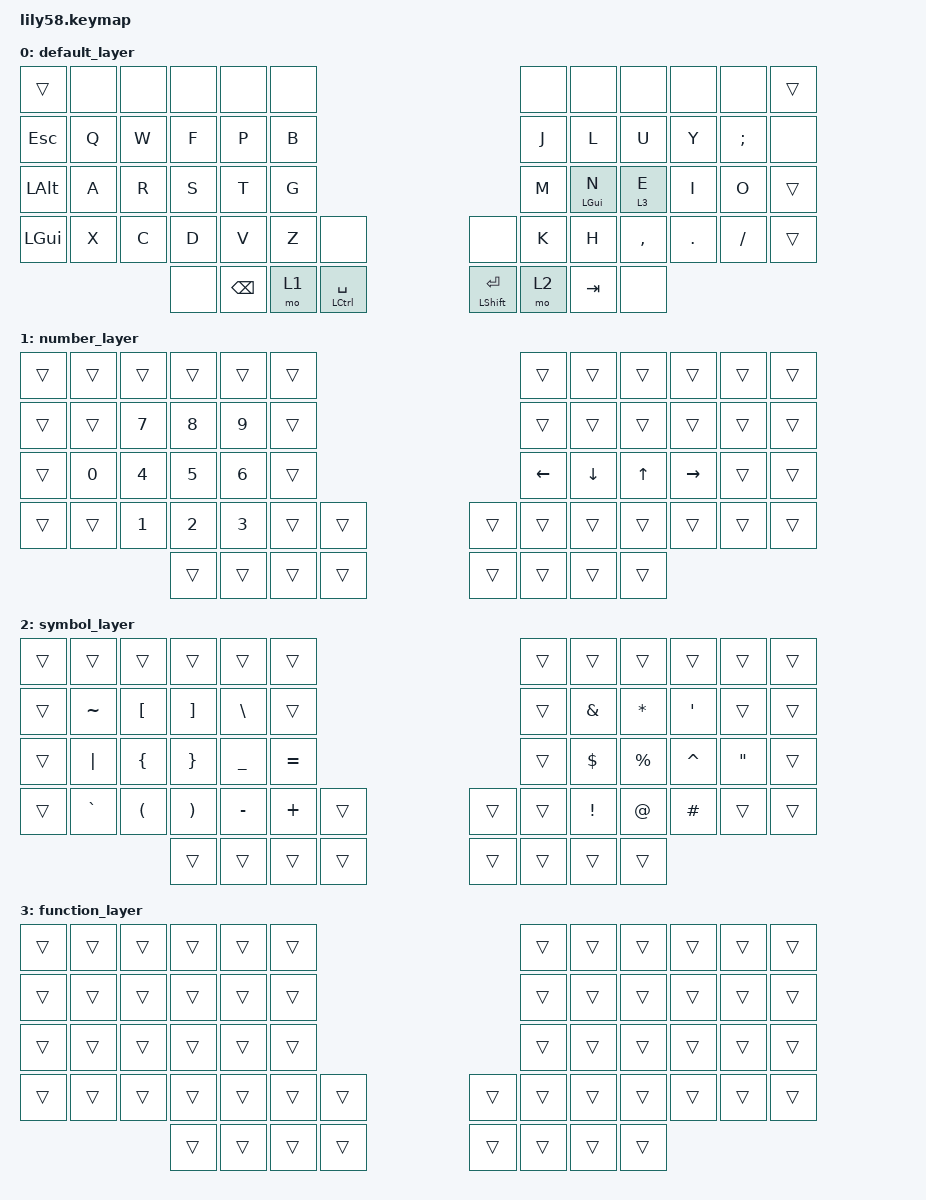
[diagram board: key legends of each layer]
/*
 * Copyright (c) 2020 The ZMK Contributors
 *
 * SPDX-License-Identifier: MIT
 */

#include <behaviors.dtsi>
#include <dt-bindings/zmk/keys.h>

/ {
    behaviors {
        hold_tap_kp: hold_tap_kp {
            compatible = "zmk,behavior-hold-tap";
            label = "HOLD_TAP_KP";
            bindings = <&kp>, <&kp>;

            #binding-cells = <2>;
            retro-tap;
            tapping-term-ms = <200>;
        };

        tap_hold_kp_timed: tap_hold_kp_timed {
            compatible = "zmk,behavior-hold-tap";
            label = "TAP_HOLD_KP_TIMED";
            bindings = <&kp>, <&kp>;

            #binding-cells = <2>;
            tapping-term-ms = <200>;
            flavor = "balanced";
        };

        tap_kp_hold_layer: tap_kp_hold_layer {
            compatible = "zmk,behavior-hold-tap";
            label = "TAP_KP_HOLD_LAYER";
            bindings = <&mo>, <&kp>;

            #binding-cells = <2>;
            tapping-term-ms = <200>;
            flavor = "tap-preferred";
        };
    };

    keymap {
        compatible = "zmk,keymap";

        default_layer {
            // ------------------------------------------------------------------------------------------------------------
            // |  ESC  |  1  |  2  |  3   |  4   |  5   |                   |  6   |  7    |  8    |  9   |   0   |   `   |
            // |  TAB  |  Q  |  W  |  E   |  R   |  T   |                   |  Y   |  U    |  I    |  O   |   P   |   -   |
            // |  CTRL |  A  |  S  |  D   |  F   |  G   |                   |  H   |  J    |  K    |  L   |   ;   |   '   |
            // | SHIFT |  Z  |  X  |  C   |  V   |  B   |   "["  |  |  "]"  |  N   |  M    |  ,    |  .   |   /   | SHIFT |
            //                     | ALT  | GUI  | LOWER|  SPACE |  | ENTER | RAISE| BSPC  | GUI   |

            bindings = <
&trans        &none  &none  &none  &none          &none                                                                          &none  &none                          &none                   &none    &none     &trans
&kp ESCAPE    &kp Q  &kp W  &kp F  &kp P          &kp B                                                                          &kp J  &kp L                          &kp U                   &kp Y    &kp SEMI  &none
&kp LEFT_ALT  &kp A  &kp R  &kp S  &kp T          &kp G                                                                          &kp M  &tap_hold_kp_timed LEFT_GUI N  &tap_kp_hold_layer 3 E  &kp I    &kp O     &trans
&kp LEFT_GUI  &kp X  &kp C  &kp D  &kp V          &kp Z  &none                                    &none                          &kp K  &kp H                          &kp COMMA               &kp DOT  &kp FSLH  &trans
                            &none  &kp BACKSPACE  &mo 1  &tap_hold_kp_timed LEFT_CONTROL SPACE    &hold_tap_kp LEFT_SHIFT ENTER  &mo 2  &kp TAB                        &none
            >;
        };

        number_layer {
            // ------------------------------------------------------------------------------------------------------------
            // |       |     |     |      |      |      |                   |      |       |       |      |       |       |
            // |   `   |  1  |  2  |  3   |  4   |  5   |                   |  6   |   7   |   8   |  9   |   0   |       |
            // |   F1  |  F2 |  F3 |  F4  |  F5  |  F6  |                   |      |   <-  |   v   |  ^   |  ->   |       |
            // |   F7  |  F8 |  F9 |  F10 |  F11 |  F12 |        |  |       |  +   |   -   |   =   |  [   |   ]   |   \   |
            //                     |      |      |      |        |  |       |      |       |       |

            bindings = <
&trans  &trans  &trans        &trans        &trans        &trans                    &trans    &trans    &trans  &trans     &trans  &trans
&trans  &trans  &kp N7        &kp N8        &kp N9        &trans                    &trans    &trans    &trans  &trans     &trans  &trans
&trans  &kp N0  &kp NUMBER_4  &kp N5        &kp NUMBER_6  &trans                    &kp LEFT  &kp DOWN  &kp UP  &kp RIGHT  &trans  &trans
&trans  &trans  &kp NUMBER_1  &kp NUMBER_2  &kp NUMBER_3  &trans  &trans    &trans  &trans    &trans    &trans  &trans     &trans  &trans
                              &trans        &trans        &trans  &trans    &trans  &trans    &trans    &trans
            >;
        };

        symbol_layer {
            // ------------------------------------------------------------------------------------------------------------
            // | BTCLR | BT1 | BT2 |  BT3 |  BT4 |  BT5 |                   |      |       |       |      |       |       |
            // |  F1   |  F2 |  F3 |  F4  |  F5  |  F6  |                   |  F7  |  F8   |  F9   |  F10 |  F11  |  F12  |
            // |   `   |  !  |  @  |  #   |  $   |  %   |                   |  ^   |  &    |  *    |  (   |   )   |   ~   |
            // |       |     |     |      |      |      |        |  |       |      |  _    |  +    |  {   |   }   |  "|"  |
            //                     |      |      |      |        |  |       |      |       |       |

            bindings = <
&trans  &trans     &trans                &trans                 &trans         &trans                       &trans  &trans           &trans       &trans            &trans             &trans
&trans  &kp TILDE  &kp LEFT_BRACKET      &kp RIGHT_BRACKET      &kp BACKSLASH  &trans                       &trans  &kp AMPERSAND    &kp STAR     &kp SINGLE_QUOTE  &trans             &trans
&trans  &kp PIPE   &kp LEFT_BRACE        &kp RIGHT_BRACE        &kp UNDER      &kp EQUAL                    &trans  &kp DOLLAR       &kp PERCENT  &kp CARET         &kp DOUBLE_QUOTES  &trans
&trans  &kp GRAVE  &kp LEFT_PARENTHESIS  &kp RIGHT_PARENTHESIS  &kp MINUS      &kp PLUS   &trans    &trans  &trans  &kp EXCLAMATION  &kp AT_SIGN  &kp HASH          &trans             &trans
                                         &trans                 &trans         &trans     &trans    &trans  &trans  &trans           &trans
            >;
        };

        function_layer {
            bindings = <
&trans  &trans  &trans  &trans  &trans  &trans                    &trans  &trans  &trans  &trans  &trans  &trans
&trans  &trans  &trans  &trans  &trans  &trans                    &trans  &trans  &trans  &trans  &trans  &trans
&trans  &trans  &trans  &trans  &trans  &trans                    &trans  &trans  &trans  &trans  &trans  &trans
&trans  &trans  &trans  &trans  &trans  &trans  &trans    &trans  &trans  &trans  &trans  &trans  &trans  &trans
                        &trans  &trans  &trans  &trans    &trans  &trans  &trans  &trans
            >;
        };
    };
};
